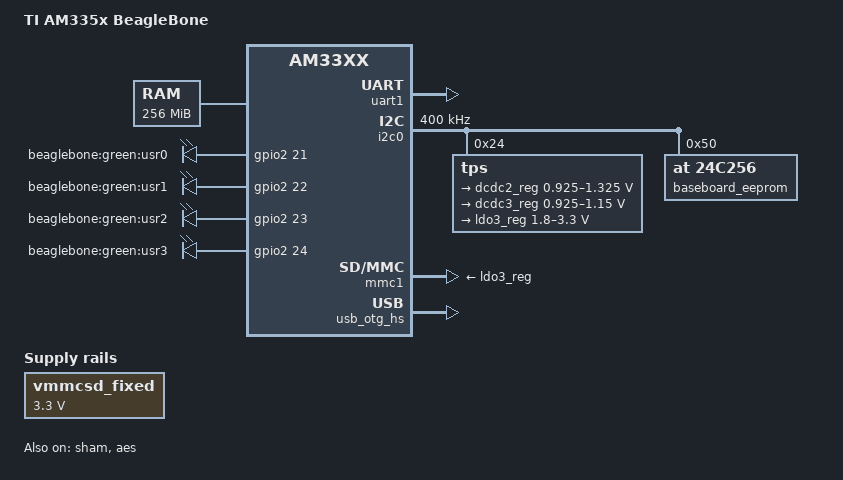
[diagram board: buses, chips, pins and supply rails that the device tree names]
/*
 * Copyright (C) 2012 Texas Instruments Incorporated - http://www.ti.com/
 *
 * This program is free software; you can redistribute it and/or modify
 * it under the terms of the GNU General Public License version 2 as
 * published by the Free Software Foundation.
 */
/dts-v1/;

/include/ "am33xx.dtsi"

/ {
	model = "TI AM335x BeagleBone";
	compatible = "ti,am335x-bone", "ti,am33xx";

	cpus {
		cpu@0 {
			cpu0-supply = <&dcdc2_reg>;
		};
	};

	memory {
		device_type = "memory";
		reg = <0x80000000 0x10000000>; /* 256 MB */
	};

	am33xx_pinmux: pinmux@44e10800 {
		pinctrl-names = "default";
		pinctrl-0 = <&userleds_pins>;

		spi1_pins_s0: spi1_pins_s0 {
			pinctrl-single,pins = <
				0x190 0x33	/* mcasp0_aclkx.spi1_sclk, INPUT_PULLUP | MODE3 */
				0x194 0x33	/* mcasp0_fsx.spi1_d0, INPUT_PULLUP | MODE3 */
				0x198 0x13	/* mcasp0_axr0.spi1_d1, OUTPUT_PULLUP | MODE3 */
				0x19c 0x13	/* mcasp0_ahclkr.spi1_cs0, OUTPUT_PULLUP | MODE3 */
			>;
		};
		userled_pins: pinmux_userled_pins {
			pinctrl-single,pins = <
				0x54 0x7	/* gpmc_a5.gpio1_21, OUTPUT | MODE7 */
				0x58 0x17	/* gpmc_a6.gpio1_22, OUTPUT_PULLUP | MODE7 */
				0x5c 0x7	/* gpmc_a7.gpio1_23, OUTPUT | MODE7 */
				0x60 0x17	/* gpmc_a8.gpio1_24, OUTPUT_PULLUP | MODE7 */
			>;
		};
		i2c0_pins: pinmux_i2c0_pins {
			pinctrl-single,pins = <
				0x188 0x70 	/* i2c0_sda, SLEWCTRL_SLOW | INPUT_PULLUP | MODE0 */
				0x18c 0x70	/* i2c0_scl, SLEWCTRL_SLOW | INPUT_PULLUP | MODE0 */
			>;
		};
		// i2c2_pins: pinmux_i2c2_pins {
		//	pinctrl-single,pins = <
		//		0x178 0x73 	/* uart1_ctsn.i2c2_sda, SLEWCTRL_SLOW | INPUT_PULLUP | MODE3 */
		//		0x17c 0x73	/* uart1_rtsn.i2c2_scl, SLEWCTRL_SLOW | INPUT_PULLUP | MODE3 */
		//	>;
		// };
	};

	ocp: ocp {
		uart1: serial@44e09000 {
			status = "okay";
		};

		gpio-leds {
			compatible = "gpio-leds";
			pinctrl-names = "default";
			pinctrl-0 = <&userled_pins>;

			led0 {
				label = "beaglebone:green:usr0";
				gpios = <&gpio2 21 0>;
				linux,default-trigger = "heartbeat";
				default-state = "off";
			};

			led1 {
				label = "beaglebone:green:usr1";
				gpios = <&gpio2 22 0>;
				linux,default-trigger = "mmc0";
				default-state = "off";
			};

			led2 {
				label = "beaglebone:green:usr2";
				gpios = <&gpio2 23 0>;
				linux,default-trigger = "cpu0";
				default-state = "off";
			};

			led3 {
				label = "beaglebone:green:usr3";
				gpios = <&gpio2 24 0>;
				default-state = "off";
				linux,default-trigger = "mmc1";
			};
		};

		rtc@44e3e000 {
			ti,system-power-controller;
		};
	};

	bone_capemgr {
		compatible = "ti,bone-capemgr";
		status = "okay";

		eeprom = <&baseboard_eeprom>;

		baseboardmaps {
			baseboard_beaglebone: board@0 {
				board-name = "A335BONE";
				compatible-name = "ti,beaglebone";
			};

			baseboard_beaglebone_black: board@1 {
				board-name = "A335BNLT";
				compatible-name = "ti,beaglebone-black";
			};
		};

		slots {
			// slot@0 {
			//	eeprom = <&cape_eeprom0>;
			// };
			//
			// slot@1 {
			//	eeprom = <&cape_eeprom1>;
			// };
			//
			// slot@2 {
			//	eeprom = <&cape_eeprom2>;
			// };
			//
			// slot@3 {
			//	eeprom = <&cape_eeprom3>;
			// };

			/* Beaglebone black has it soldered on */
			 slot@4 {
				ti,cape-override;
				compatible = "ti,beaglebone-black";
				board-name = "Bone-LT-eMMC-2G";
				version = "00A0";
				manufacturer = "Texas Instruments";
				part-number = "BB-BONE-EMMC-2G";
			 };

			/* geiger cape version A0 without an EEPROM */
			slot@5 {
				ti,cape-override;
				compatible = "kernel-command-line", "runtime";
				board-name = "Bone-Geiger";
				version = "00A0";
				manufacturer = "Geiger Inc.";
				part-number = "BB-BONE-GEIGER";
			};

			/* Beaglebone black has it soldered on */
			slot@6 {
				ti,cape-override;
				compatible = "ti,beaglebone-black";
				board-name = "Bone-Black-HDMI";
				version = "00A0";
				manufacturer = "Texas Instruments";
				part-number = "BB-BONELT-HDMI";
			};

			/* Nixie cape version A0 without an EEPROM */
			slot@7 {
				ti,cape-override;
				compatible = "kernel-command-line", "runtime";
				board-name = "Bone-Nixie";
				version = "00A0";
				manufacturer = "Ranostay Industries";
				part-number = "BB-BONE-NIXIE";
			};

			/* adafruit 1.8" TFT prototype cape */
			slot@8 {
				ti,cape-override;
				compatible = "kernel-command-line", "runtime";
				board-name = "Bone-TFT";
				version = "00A0";
				manufacturer = "Adafruit";
				part-number = "BB-BONE-TFT-01";
			};

			/* adafruit RTC DS1307 prototype cape */
			slot@9 {
				ti,cape-override;
				compatible = "kernel-command-line", "runtime";
				board-name = "Bone-RTC";
				version = "00A0";
				manufacturer = "Adafruit";
				part-number = "BB-BONE-RTC-01";
			};

			slot@10 {
				ti,cape-override;
				compatible = "kernel-command-line", "runtime";
				board-name = "Bone-Hexy";
				version = "00A0";
				manufacturer = "Koen Kooi";
				part-number = "BB-BONE-HEXY-01";
			};
			/* MRF24J40 Cape Override */
			slot@11 {
				ti,cape-override;
				compatible = "kernel-command-line", "runtime";
				board-name = "Bone-MRF24J40";
				version = "00A0";
				manufacturer = "Signal 11 Software";
				part-number = "BB-BONE-MRF24J40";
			};
		};

		/* mapping between board names and dtb objects */
		capemaps {
			/* DVI cape */
			cape@0 {
				/* board-name = "BeagleBone DVI-D CAPE"; */
				part-number = "BB-BONE-DVID-01";
				version@00A0 {
					version = "00A0";
					dtbo = "cape-bone-dvi-00A0.dtbo";
				};
				version@00A1 {
					version = "00A1", "01";
					dtbo = "cape-bone-dvi-00A1.dtbo";
				};
				version@00A2 {
					version = "00A2", "A2";
					dtbo = "cape-bone-dvi-00A2.dtbo";
				};
				version@00A3 {
					version = "00A3";
					dtbo = "cape-bone-dvi-00A2.dtbo";
				};
			};

			/* tester */
			cape@100 {
				part-number = "BB-BONE-TESTER";
				version@00A0 {
					version = "00A0";
					dtbo = "cape-bone-tester-00A0.dtbo";
				};
			};

			/* beaglebone black emmc on board */
			cape@1 {
				/* board-name = "BeagleBone 2G eMMC1 CAPE"; */
				part-number = "BB-BONE-EMMC-2G";
				version@00A0 {
					version = "00A0";
					dtbo = "cape-bone-2g-emmc1.dtbo";
				};
			};

			/* geiger cape */
			cape@2 {
				part-number = "BB-BONE-GEIGER";
				version@00A0 {
					version = "00A0";
					dtbo = "cape-bone-geiger-00A0.dtbo";
				};
			};

			/* LCD3 cape */
			cape@3 {
				part-number = "BB-BONE-LCD3-01";
				version@00A0 {
					version = "00A0";
					dtbo = "cape-bone-lcd3-00A0.dtbo";
				};
				version@00A2 {
					version = "00A2";
					dtbo = "cape-bone-lcd3-00A2.dtbo";
				};
			};

			/* Weather cape */
			cape@4 {
				part-number = "BB-BONE-WTHR-01";
				version@00A0 {
					version = "00A0";
					dtbo = "cape-bone-weather-00A0.dtbo";
				};
			};

			/* beaglebone black hdmi on board */
			cape@5 {
				part-number = "BB-BONELT-HDMI";
				version@00A0 {
					version = "00A0";
					dtbo = "cape-boneblack-hdmi-00A0.dtbo";
				};
			};

			/* nixie cape */
			cape@6 {
				part-number = "BB-BONE-NIXIE";
				version@00A0 {
					version = "00A0";
					dtbo = "cape-bone-nixie-00A0.dtbo";
				};
			};
			cape@7 {
				part-number = "BB-BONE-TFT-01";
				version@00A0 {
					version = "00A0";
					dtbo = "cape-bone-adafruit-lcd-00A0.dtbo";
				};
			};

			cape@8 {
				part-number = "BB-BONE-RTC-01";
				version@00A0 {
					version = "00A0";
					dtbo = "cape-bone-adafruit-rtc-00A0.dtbo";
				};
			};

			cape@9 {
				part-number = "BB-BONE-HEXY-01";
				version@00A0 {
					version = "00A0";
					dtbo = "cape-bone-hexy-00A0.dtbo";
				};
			};
			/* mrf24j40 cape */
			cape@10 {
				part-number = "BB-BONE-MRF24J40";
				version@00A0 {
					version = "00A0";
					dtbo = "cape-bone-mrf24j40-00A0.dtbo";
				};
			};
			/* expansion test */
			cape@11 {
				part-number = "BB-BONE-EXPTEST";
				version@00A0 {
					version = "00A0";
					dtbo = "cape-bone-exptest-00A0.dtbo";
				};
			};
		};
	};

	vmmcsd_fixed: fixedregulator@0 {
		compatible = "regulator-fixed";
		regulator-name = "vmmcsd_fixed";
		regulator-min-microvolt = <3300000>;
		regulator-max-microvolt = <3300000>;
	};

};

&i2c0 {
	status = "okay";
	clock-frequency = <400000>;
	pinctrl-names = "default";
	pinctrl-0 = <&i2c0_pins>;

	tps: tps@24 {
		reg = <0x24>;
	};

	baseboard_eeprom: baseboard_eeprom@50 {
		compatible = "at,24c256";
		reg = <0x50>;
	};
};

// &i2c2 {
//	status = "okay";
//	pinctrl-names = "default";
//	pinctrl-0 = <&i2c2_pins>;
//
//	clock-frequency = <100000>;
//
//	cape_eeprom0: cape_eeprom0@54 {
//		compatible = "at,24c256";
//		reg = <0x54>;
//	};
//
//	cape_eeprom1: cape_eeprom1@55 {
//		compatible = "at,24c256";
//		reg = <0x55>;
//	};
//
//	cape_eeprom2: cape_eeprom2@56 {
//		compatible = "at,24c256";
//		reg = <0x56>;
//	};
//
//	cape_eeprom3: cape_eeprom3@57 {
//		compatible = "at,24c256";
//		reg = <0x57>;
//	};
// };

/include/ "tps65217.dtsi"

&tps {
	ti,pmic-shutdown-controller;

	regulators {
		dcdc1_reg: regulator@0 {
			regulator-always-on;
		};

		dcdc2_reg: regulator@1 {
			/* VDD_MPU voltage limits 0.95V - 1.26V with +/-4% tolerance */
			regulator-name = "vdd_mpu";
			regulator-min-microvolt = <925000>;
			regulator-max-microvolt = <1325000>;
			regulator-boot-on;
			regulator-always-on;
		};

		dcdc3_reg: regulator@2 {
			/* VDD_CORE voltage limits 0.95V - 1.1V with +/-4% tolerance */
			regulator-name = "vdd_core";
			regulator-min-microvolt = <925000>;
			regulator-max-microvolt = <1150000>;
			regulator-boot-on;
			regulator-always-on;
		};

		ldo1_reg: regulator@3 {
			regulator-always-on;
		};

		ldo2_reg: regulator@4 {
			regulator-always-on;
		};

		ldo3_reg: regulator@5 {
			regulator-min-microvolt = <1800000>;
			regulator-max-microvolt = <3300000>;
			regulator-always-on;
		};

		ldo4_reg: regulator@6 {
			regulator-always-on;
		};
	};
};

&cpsw_emac0 {
	phy_id = <&davinci_mdio>, <0>;
};

&cpsw_emac1 {
	phy_id = <&davinci_mdio>, <1>;
};

&mmc1 {
	status = "okay";
	vmmc-supply = <&ldo3_reg>;
	ti,vcc-aux-disable-is-sleep;
};

&edma {
	ti,edma-xbar-event-map = <32 12>;
};

&sham {
	status = "okay";
};

&aes {
	status = "okay";
};

&usb_otg_hs {
	interface_type = <1>;
	power = <250>;
	status = "okay";
};
